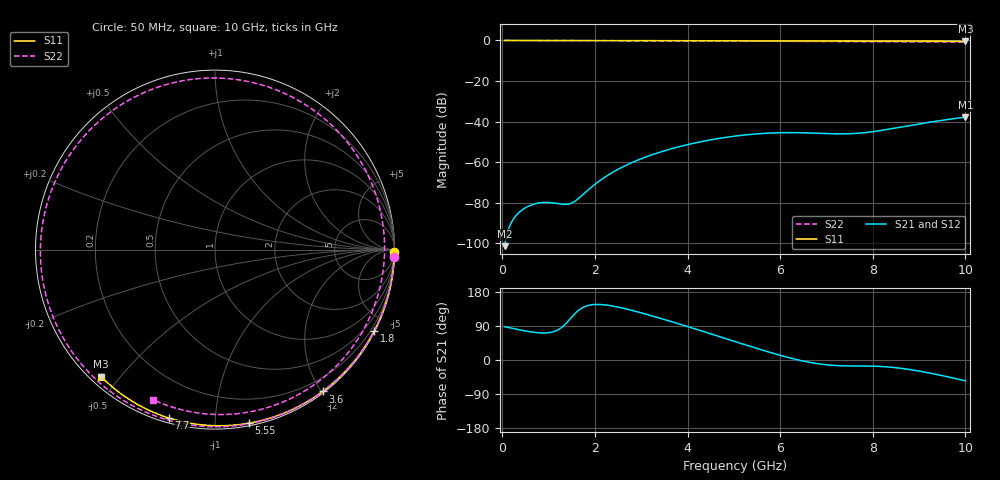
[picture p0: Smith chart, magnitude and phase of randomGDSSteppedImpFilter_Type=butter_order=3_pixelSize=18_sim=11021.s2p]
! freq	dB(S11)	phase(S11)	dB(S12)	phase(S12)
!  dB(S21)	phase(S21)	dB(S22)	phase(S22)
!S-par simulation data
#  GHz  S  DB  R 50
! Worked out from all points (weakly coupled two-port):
!   200 points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, 50 MHz to 10 GHz, reference 50 ohm
!   highest |S21| = -37.81 dB at 10 GHz (marker M1); lowest = -101.4 dB at 50 MHz (marker M2)
!   lowest |S11| = -0.4 dB at 10 GHz (marker M3), VSWR 39.03, Z = 1.54 - j22.3 ohm
!   |S11| at or under -10 dB: nowhere
!   |S22| runs from -0.9 to 0.0 dB; largest |S21 - S12| = 0
!   S11 on the Smith chart (normalised r, x): 50 MHz: open; 1.8 GHz: 0.04, -4.16; 3.6 GHz: 0.02, -2.01; 5.55 GHz: 0.02, -1.21; 7.7 GHz: 0.02, -0.76; 10 GHz: 0.03, -0.45
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0.05  -0.00 -0.8  -101.44 87.7  -101.44 87.7  -0.01 -2.3
0.7  -0.01 -10.6  -80.59 72.8  -80.59 72.8  -0.04 -30.9
1.5  -0.03 -22.6  -80.17 113.3  -80.17 113.3  -0.08 -65.2
1.75  -0.03 -26.3  -75.82 139.2  -75.82 139.2  -0.09 -75.8
1.8  -0.03 -27.0  -74.80 141.9  -74.80 141.9  -0.10 -77.9
2.15  -0.04 -32.2  -68.40 146.1  -68.40 146.1  -0.11 -92.5
2.55  -0.05 -38.0  -62.93 138.2  -62.93 138.2  -0.13 -109.0
3.4  -0.07 -50.1  -55.11 110.5  -55.11 110.5  -0.18 -144.4
3.6  -0.07 -52.8  -53.73 103.2  -53.73 103.2  -0.19 -152.9
4.35  -0.09 -63.1  -49.64 74.9  -49.64 74.9  -0.25 173.7
4.7  -0.10 -67.8  -48.22 61.3  -48.22 61.3  -0.28 157.0
5.05  -0.11 -72.4  -47.09 47.7  -47.09 47.7  -0.31 139.4
5.55  -0.13 -78.9  -45.97 28.6  -45.97 28.6  -0.35 112.5
6.1  -0.15 -85.9  -45.46 9.1  -45.46 9.1  -0.40 80.8
6.4  -0.17 -89.7  -45.48 -0.1  -45.48 -0.1  -0.42 62.9
6.7  -0.18 -93.4  -45.67 -7.5  -45.67 -7.5  -0.44 44.8
7.2  -0.21 -99.4  -46.04 -14.6  -46.04 -14.6  -0.47 15.2
7.7  -0.24 -105.4  -45.72 -15.8  -45.72 -15.8  -0.51 -12.7
8.35  -0.29 -113.0  -43.73 -18.6  -43.73 -18.6  -0.57 -45.5
8.75  -0.32 -117.6  -42.14 -24.3  -42.14 -24.3  -0.63 -63.6
9.15  -0.36 -122.2  -40.59 -32.6  -40.59 -32.6  -0.69 -80.3
10  -0.45 -131.9  -37.81 -55.0  -37.81 -55.0  -0.87 -112.4
